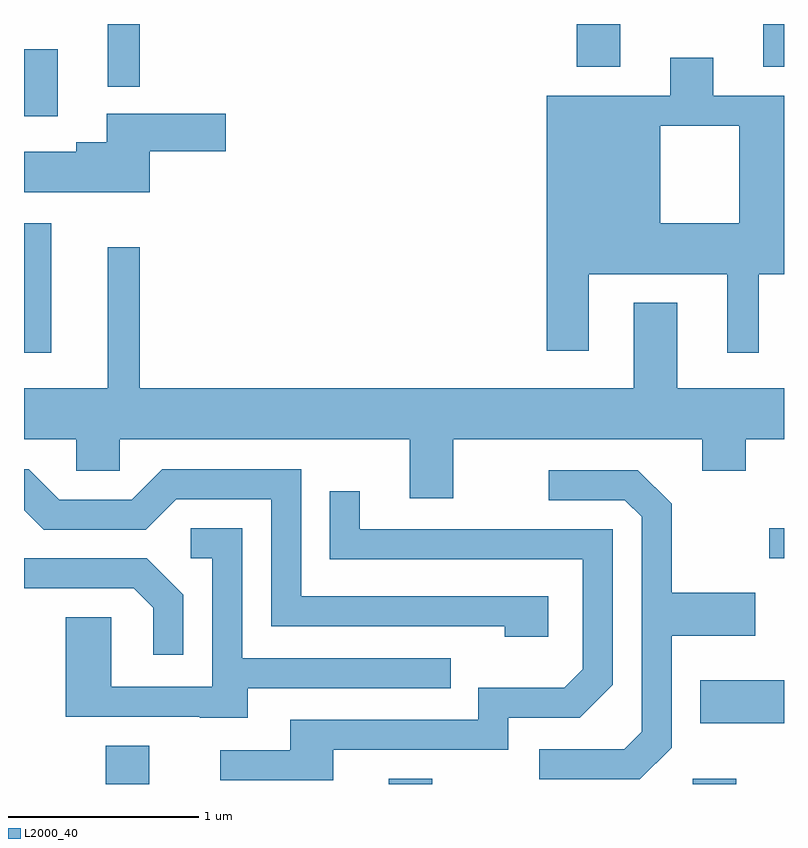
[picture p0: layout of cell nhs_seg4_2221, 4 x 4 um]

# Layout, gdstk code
import gdstk
lib = gdstk.Library(unit=1e-6, precision=1e-09)
def R(c, l, rs):  # rectangles x0, y0, x1, y1
    for r in rs: c.add(gdstk.rectangle(r[:2], r[2:], *l))
def P(c, l, *ps):  # polygons
    for p in ps: c.add(gdstk.Polygon(p, *l))
L2000_40 = (2000, 40)

nhs_seg4_2221 = lib.new_cell('nhs_seg4_2221')
R(nhs_seg4_2221, L2000_40, [(250.041,1343.982,250.269,1344.184), (251.531,1343.982,251.759,1344.009), (253.131,1343.982,253.359,1344.009), (253.171,1344.301,253.611,1344.529), (253.533,1345.171,253.611,1345.329), (249.611,1346.253,249.754,1346.934), (249.611,1347.496,249.789,1347.849), (250.051,1347.653,250.219,1347.982), (252.521,1347.756,252.749,1347.982), (253.501,1347.756,253.611,1347.982)])
P(nhs_seg4_2221, L2000_40, [(252.584,1346.261),(252.584,1346.666),(253.311,1346.666),(253.311,1346.253),(253.479,1346.253),(253.479,1346.666),(253.611,1346.666),(253.611,1347.604),(253.239,1347.604),(253.239,1347.804),(253.011,1347.804),(253.011,1347.604),(252.361,1347.604),(252.361,1346.934),(252.959,1346.934),(252.959,1347.446),(253.376,1347.446),(253.376,1346.934),(252.959,1346.934),(252.361,1346.934),(252.361,1346.261)],
  [(250.274,1347.311),(250.674,1347.311),(250.674,1347.509),(250.046,1347.509),(250.046,1347.359),(249.886,1347.359),(249.886,1347.309),(249.611,1347.309),(249.611,1347.096),(250.274,1347.096)],
  [(251.869,1345.796),(253.181,1345.796),(253.181,1345.631),(253.409,1345.631),(253.409,1345.796),(253.611,1345.796),(253.611,1346.064),(253.049,1346.064),(253.049,1346.514),(252.821,1346.514),(252.821,1346.064),(250.219,1346.064),(250.219,1346.808),(250.051,1346.808),(250.051,1346.064),(249.611,1346.064),(249.611,1345.796),(249.886,1345.796),(249.886,1345.631),(250.114,1345.631),(250.114,1345.796),(251.641,1345.796),(251.641,1345.486),(251.869,1345.486)],
  [(252.369,1344.969),(251.069,1344.969),(251.069,1345.639),(250.339,1345.639),(250.179,1345.479),(249.797,1345.479),(249.637,1345.639),(249.611,1345.639),(249.611,1345.424),(249.714,1345.321),(250.252,1345.321),(250.412,1345.481),(250.911,1345.481),(250.911,1344.811),(252.141,1344.811),(252.141,1344.756),(252.369,1344.756)],
  [(253.019,1344.174),(253.019,1344.761),(253.459,1344.761),(253.459,1344.989),(253.019,1344.989),(253.019,1345.457),(252.842,1345.634),(252.373,1345.634),(252.373,1345.476),(252.774,1345.476),(252.861,1345.389),(252.861,1344.257),(252.769,1344.164),(252.323,1344.164),(252.323,1344.006),(252.852,1344.006)],
  [(251.239,1344.161),(252.159,1344.161),(252.159,1344.331),(252.537,1344.331),(252.709,1344.504),(252.709,1345.324),(251.379,1345.324),(251.379,1345.523),(251.221,1345.523),(251.221,1345.166),(252.551,1345.166),(252.551,1344.587),(252.454,1344.489),(252.001,1344.489),(252.001,1344.319),(251.011,1344.319),(251.011,1344.159),(250.643,1344.159),(250.643,1344.001),(251.239,1344.001)],
  [(250.789,1344.486),(251.858,1344.486),(251.858,1344.644),(250.759,1344.644),(250.759,1345.329),(250.488,1345.329),(250.488,1345.171),(250.601,1345.171),(250.601,1344.494),(250.069,1344.494),(250.069,1344.859),(249.831,1344.859),(249.831,1344.336),(250.535,1344.336),(250.535,1344.331),(250.789,1344.331)],
  [(250.449,1344.977),(250.257,1345.169),(249.611,1345.169),(249.611,1345.011),(250.189,1345.011),(250.291,1344.909),(250.291,1344.663),(250.449,1344.663)])

lib.write_gds('nhs_seg4_2221.gds')
